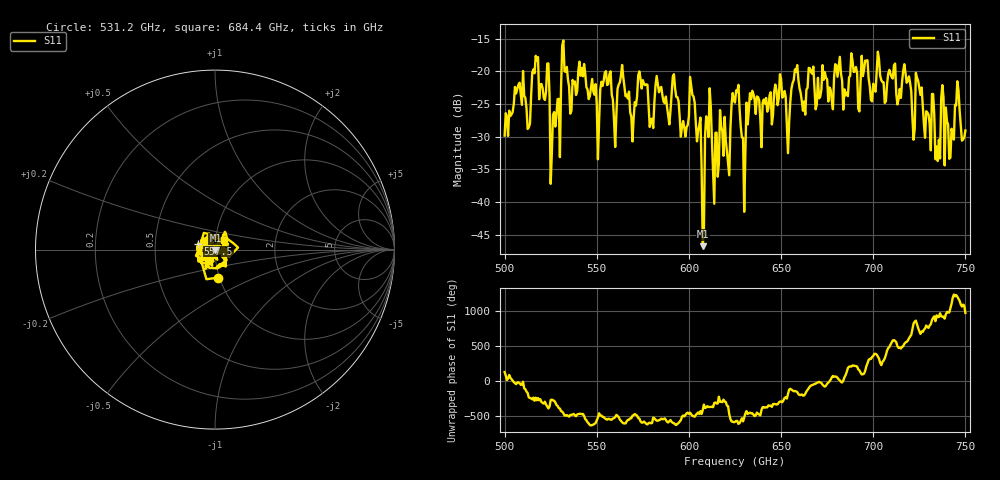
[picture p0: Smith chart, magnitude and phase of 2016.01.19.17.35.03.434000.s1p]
!Created with skrf (http://scikit-rf.org).
# GHz S RI R 50.0
!freq ReS11 ImS11
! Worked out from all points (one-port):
!   401 points, 500 GHz to 750 GHz, reference 50 ohm
!   lowest |S11| = -46.7 dB at 607.5 GHz (marker M1), VSWR 1.01, Z = 50.2 - j0.411 ohm
!   |S11| at or under -10 dB: start of sweep to end of sweep
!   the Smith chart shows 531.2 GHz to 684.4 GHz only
!   S11 on the Smith chart (normalised r, x): 531.2 GHz: 0.98, -0.31; 557.5 GHz: 0.83, +0.06; 684.4 GHz: 1.09, +0.12
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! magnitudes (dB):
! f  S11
! 500 GHz  -29.8
! 506.9 GHz  -22.7
! 513.1 GHz  -28.6
! 516.9 GHz  -17.6
! 526.2 GHz  -26.6
! 531.2 GHz  -16.1
! 557.5 GHz  -20.0
! 562.5 GHz  -21.7
! 569.4 GHz  -30.7
! 573.8 GHz  -21.2
! 579.4 GHz  -27.3
! 593.8 GHz  -23.9
! 596.9 GHz  -27.6
! 601.9 GHz  -23.6
! 607.5 GHz  -46.7
! 610.6 GHz  -30.0
! 614.4 GHz  -29.4
! 625 GHz  -24.8
! 629.4 GHz  -30.2
! 634.4 GHz  -23.0
! 653.8 GHz  -32.5
! 656.2 GHz  -21.8
! 684.4 GHz  -22.8
! 687.5 GHz  -20.7
! 718.8 GHz  -21.5
! 735 GHz  -33.7
! 745.6 GHz  -21.5
! 750 GHz  -29.0
